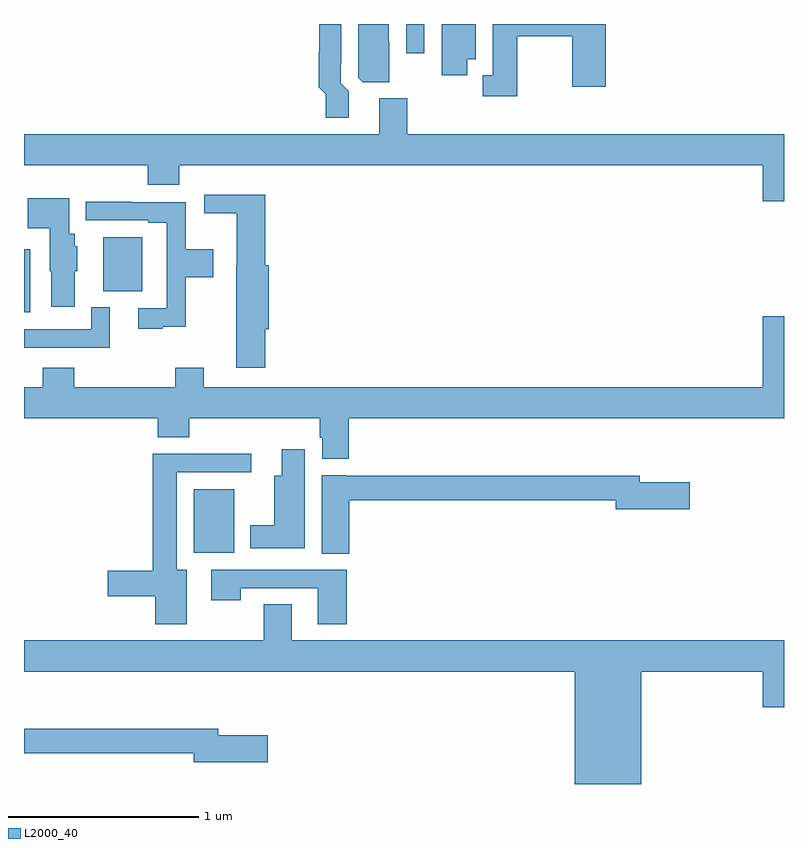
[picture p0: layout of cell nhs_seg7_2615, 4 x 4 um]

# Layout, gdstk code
import gdstk
lib = gdstk.Library(unit=1e-6, precision=1e-09)
def R(c, l, rs):  # rectangles x0, y0, x1, y1
    for r in rs: c.add(gdstk.rectangle(r[:2], r[2:], *l))
def P(c, l, *ps):  # polygons
    for p in ps: c.add(gdstk.Polygon(p, *l))
L2000_40 = (2000, 40)

nhs_seg7_2615 = lib.new_cell('nhs_seg7_2615')
R(nhs_seg7_2615, L2000_40, [(281.894,1025.216,282.106,1025.551), (281,1026.482,281.032,1026.814), (281.417,1026.593,281.623,1026.877), (283.011,1027.845,283.107,1028)])
P(nhs_seg7_2615, L2000_40, [(282.922,1027.907),(282.921,1027.907),(282.921,1028),(282.759,1028),(282.759,1027.716),(282.783,1027.693),(282.922,1027.693)],
  [(283.596,1027.936),(283.885,1027.936),(283.885,1027.671),(284.063,1027.671),(284.063,1028),(283.466,1028),(283.466,1027.73),(283.414,1027.73),(283.414,1027.62),(283.596,1027.62)],
  [(283.333,1027.814),(283.378,1027.814),(283.378,1028),(283.199,1028),(283.199,1027.73),(283.333,1027.73)],
  [(282.709,1027.646),(282.666,1027.689),(282.666,1027.789),(282.669,1027.789),(282.669,1028),(282.553,1028),(282.553,1027.85),(282.551,1027.85),(282.551,1027.668),(282.589,1027.629),(282.589,1027.506),(282.709,1027.506)],
  [(285,1027.42),(283.017,1027.42),(283.017,1027.608),(282.869,1027.608),(282.869,1027.42),(281,1027.42),(281,1027.256),(281.651,1027.256),(281.651,1027.154),(281.816,1027.154),(281.816,1027.256),(284.888,1027.256),(284.888,1027.068),(285,1027.068)],
  [(282.269,1026.393),(282.287,1026.393),(282.287,1026.729),(282.269,1026.729),(282.269,1027.102),(281.949,1027.102),(281.949,1027.004),(282.119,1027.004),(282.119,1026.729),(282.116,1026.729),(282.116,1026.192),(282.269,1026.192)],
  [(281.266,1026.699),(281.281,1026.699),(281.281,1026.831),(281.266,1026.831),(281.266,1026.897),(281.239,1026.897),(281.239,1027.084),(281.02,1027.084),(281.02,1026.926),(281.135,1026.926),(281.135,1026.699),(281.144,1026.699),(281.144,1026.513),(281.266,1026.513)],
  [(281.729,1026.407),(281.852,1026.407),(281.852,1026.667),(281.995,1026.667),(281.995,1026.814),(281.852,1026.814),(281.852,1027.062),(281.567,1027.062),(281.567,1027.064),(281.325,1027.064),(281.325,1026.966),(281.654,1026.966),(281.654,1026.954),(281.751,1026.954),(281.751,1026.504),(281.601,1026.504),(281.601,1026.396),(281.729,1026.396)],
  [(281.452,1026.508),(281.355,1026.508),(281.355,1026.393),(281,1026.393),(281,1026.297),(281.452,1026.297)],
  [(282.71,1025.924),(285,1025.924),(285,1026.463),(284.888,1026.463),(284.888,1026.088),(281.947,1026.088),(281.947,1026.19),(281.795,1026.19),(281.795,1026.088),(281.264,1026.088),(281.264,1026.19),(281.099,1026.19),(281.099,1026.088),(281,1026.088),(281,1025.924),(281.705,1025.924),(281.705,1025.825),(281.87,1025.825),(281.87,1025.924),(282.557,1025.924),(282.557,1025.823),(282.569,1025.823),(282.569,1025.711),(282.71,1025.711)],
  [(282.478,1025.761),(282.356,1025.761),(282.356,1025.623),(282.317,1025.623),(282.317,1025.362),(282.191,1025.362),(282.191,1025.24),(282.478,1025.24)],
  [(281.857,1025.128),(281.803,1025.128),(281.803,1025.64),(282.196,1025.64),(282.196,1025.738),(281.678,1025.738),(281.678,1025.123),(281.442,1025.123),(281.442,1024.988),(281.69,1024.988),(281.69,1024.842),(281.857,1024.842)],
  [(282.713,1025.494),(284.114,1025.494),(284.114,1025.447),(284.503,1025.447),(284.503,1025.589),(284.242,1025.589),(284.242,1025.623),(282.696,1025.623),(282.696,1025.626),(282.566,1025.626),(282.566,1025.212),(282.713,1025.212)],
  [(282.698,1025.127),(281.985,1025.127),(281.985,1024.968),(282.141,1024.968),(282.141,1025.031),(282.545,1025.031),(282.545,1024.842),(282.698,1024.842)],
  [(284.248,1024.592),(284.888,1024.592),(284.888,1024.404),(285,1024.404),(285,1024.756),(282.409,1024.756),(282.409,1024.946),(282.262,1024.946),(282.262,1024.756),(281,1024.756),(281,1024.592),(283.898,1024.592),(283.898,1024),(284.248,1024)],
  [(282.283,1024.257),(282.022,1024.257),(282.022,1024.291),(281,1024.291),(281,1024.162),(281.894,1024.162),(281.894,1024.115),(282.283,1024.115)])

lib.write_gds('nhs_seg7_2615.gds')
